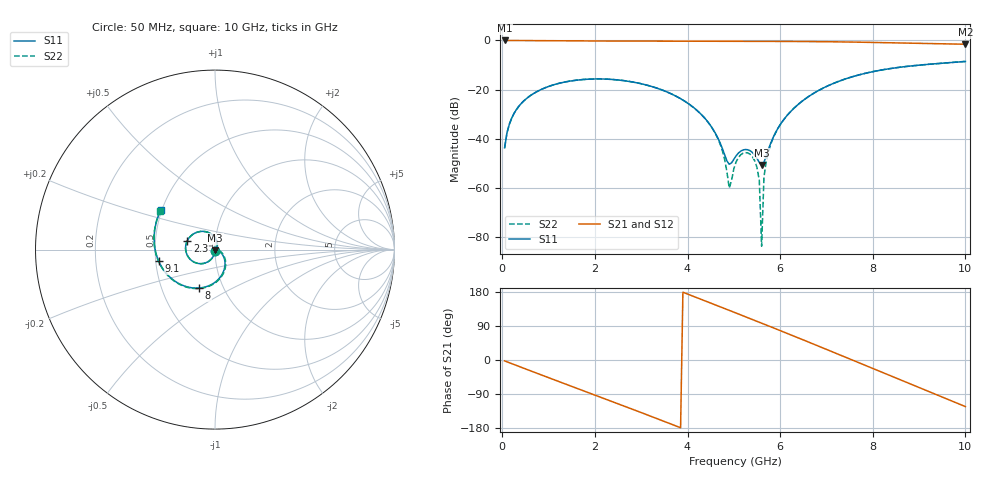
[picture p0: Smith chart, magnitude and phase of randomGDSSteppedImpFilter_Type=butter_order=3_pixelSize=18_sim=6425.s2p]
! freq	dB(S11)	phase(S11)	dB(S12)	phase(S12)
!  dB(S21)	phase(S21)	dB(S22)	phase(S22)
!S-par simulation data
#  GHz  S  DB  R 50
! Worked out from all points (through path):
!   200 points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, 50 MHz to 10 GHz, reference 50 ohm
!   highest |S21| = 0.00 dB at 50 MHz (marker M1); lowest = -1.5 dB at 10 GHz (marker M2)
!   group delay of S21, straight-line fit = 134 ps
!   lowest |S11| = -50.7 dB at 5.6 GHz (marker M3), VSWR 1.01, Z = 50 - j0.289 ohm
!   |S11| at or under -10 dB: start of sweep to 9.034 GHz
!   |S22| runs from -83.8 to -8.6 dB; largest |S21 - S12| = 0
!   S11 on the Smith chart (normalised r, x): 50 MHz: 1.00, -0.01; 2.3 GHz: 0.73, +0.07; 8 GHz: 0.77, -0.35; 9.1 GHz: 0.52, -0.07; 10 GHz: 0.49, +0.25
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0.05  -43.76 -91.9  -0.00 -2.4  -0.00 -2.4  -43.76 -91.9
0.2  -31.77 -99.5  -0.02 -9.4  -0.02 -9.4  -31.77 -99.5
0.5  -24.02 -113.8  -0.04 -23.5  -0.04 -23.5  -24.02 -113.7
1.75  -15.91 -172.2  -0.20 -81.1  -0.20 -81.1  -15.91 -172.1
2.3  -15.80 162.4  -0.24 -106.3  -0.24 -106.3  -15.80 162.6
3.4  -19.83 110.8  -0.24 -157.5  -0.24 -157.5  -19.83 111.3
4.5  -34.74 51.0  -0.28 150.2  -0.28 150.2  -34.81 56.2
4.75  -43.92 20.2  -0.30 138.2  -0.30 138.2  -44.79 37.8
4.9  -50.43 -44.0  -0.31 131.0  -0.31 131.0  -60.14 -31.2
5.05  -46.96 -104.3  -0.32 123.8  -0.32 123.8  -49.42 -133.6
5.3  -44.52 -128.2  -0.34 111.8  -0.34 111.8  -45.83 -153.4
5.5  -48.07 -119.7  -0.35 102.1  -0.35 102.1  -51.73 -164.7
5.55  -49.72 -106.7  -0.36 99.7  -0.36 99.7  -57.05 -167.6
5.6  -50.74 -83.7  -0.36 97.2  -0.36 97.2  -83.81 158.2
5.65  -49.67 -56.5  -0.36 94.8  -0.36 94.8  -55.74 8.4
5.8  -41.65 -22.3  -0.37 87.5  -0.37 87.5  -42.11 0.3
6.15  -30.55 -24.4  -0.40 70.3  -0.40 70.3  -30.56 -17.3
6.7  -21.80 -48.0  -0.46 43.0  -0.46 43.0  -21.79 -44.9
8  -12.71 -112.4  -0.80 -22.2  -0.80 -22.2  -12.71 -110.9
8.35  -11.53 -130.1  -0.93 -39.7  -0.93 -39.7  -11.53 -128.8
9.1  -9.89 -168.6  -1.21 -77.2  -1.21 -77.2  -9.89 -167.4
10  -8.55 143.7  -1.55 -123.0  -1.55 -123.0  -8.56 144.8
